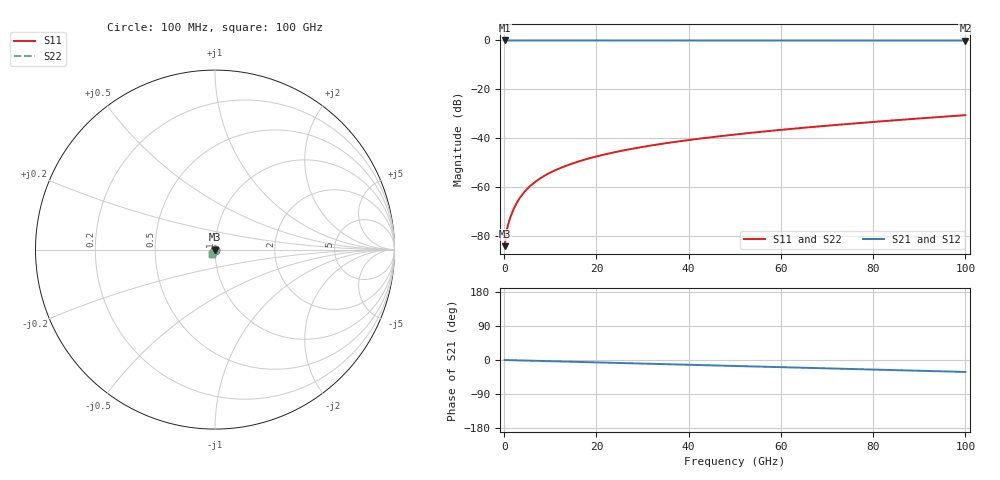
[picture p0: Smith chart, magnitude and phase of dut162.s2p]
! Touchstone file exported from HFSS 2026.1.0
!  File:  C:/ffzhzh/LocalFiles/Ansys_Project_Files/temp_train_TSV_162_1783506824_41296.aedt
!  Generated:  06:34:47 PM Jul  8, 2026
!  Design:  TSV
!  Project:  temp_train_TSV_162_1783506824_41296
! Variables:
!  h_bsmrdl = 2um
!  h_ox = 20um
!  h_rdl = 5um
!  h_sub = 58.27um
!  h_tmrdl = 5um
!  h_tsv = 58.27um
!  h_via = 3um
!  l_bsmrdl = 300um
!  l_sub = 428.98um
!  l_tmrdl = 200um
!  m_sub = 200um
!  pitch = 55.14um
!  r_tsv = 14.49um
!  s_tmrdl = 10um
!  w_bsmrdl = 18um
!  w_sub = 500um
!  w_tmrdl = 12um
!  x_tsv_center1 = 206um
!  x_tsv_center2 = 524um
!  x_tsv_center3 = 736um
!  x_tsv_center4 = 1054um
!  x_tsv_center5 = 1266um
!  x_tsv_center6 = 1584um
# GHz S MA R 50.000000
! Terminal data exported
! Port[1] = TSV1_1_T1
! Port[2] = TSV1_1_T2
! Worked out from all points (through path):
!   1000 points, 100 MHz to 100 GHz, reference 50 ohm
!   highest |S21| = 0.00 dB at 100 MHz (marker M1); lowest = 0.0 dB at 100 GHz (marker M2)
!   group delay of S21, straight-line fit = 874 fs
!   lowest |S11| = -84.3 dB at 100 MHz (marker M3), VSWR 1.00, Z = 50 + j0.000996 ohm
!   |S11| at or under -10 dB: start of sweep to end of sweep
!   |S22| runs from -84.3 to -30.6 dB; largest |S21 - S12| = 2.2e-15
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0.1  6.089e-05 9.4  0.9999 -0.0  0.9999 -0.0  6.089e-05 9.4
! Gamma 0 0 0 0
! Port Impedance 50 0 50 0
0.3  8.769e-05 11.2  0.9999 -0.1  0.9999 -0.1  8.769e-05 11.2
0.6  0.000132 -4.0  0.9999 -0.2  0.9999 -0.2  0.000132 -4.0
1.1  0.0002014 -26.0  0.9998 -0.4  0.9998 -0.4  0.0002014 -26.0
1.5  0.0002602 -37.0  0.9998 -0.5  0.9998 -0.5  0.0002601 -37.0
1.9  0.0003235 -44.4  0.9998 -0.6  0.9998 -0.6  0.0003235 -44.4
2.4  0.0004086 -50.8  0.9997 -0.8  0.9997 -0.8  0.0004085 -50.8
3  0.0005173 -56.3  0.9997 -1.0  0.9997 -1.0  0.0005173 -56.3
3.7  0.0006506 -60.8  0.9997 -1.2  0.9997 -1.2  0.0006506 -60.8
5.3  0.00097 -67.7  0.9996 -1.7  0.9996 -1.7  0.0009699 -67.7
7.3  0.001384 -72.9  0.9995 -2.3  0.9995 -2.3  0.001383 -72.9
9.9  0.001939 -76.9  0.9995 -3.1  0.9995 -3.1  0.001939 -76.9
13.1  0.002631 -80.2  0.9994 -4.1  0.9994 -4.1  0.002631 -80.2
16.8  0.003462 -83.2  0.9993 -5.3  0.9993 -5.3  0.003461 -83.2
20.2  0.004245 -85.6  0.9992 -6.3  0.9992 -6.3  0.004245 -85.6
24.1  0.005161 -88.1  0.9991 -7.6  0.9991 -7.6  0.005161 -88.1
33.4  0.007424 -92.9  0.999 -10.5  0.999 -10.5  0.007423 -92.9
41.1  0.009393 -96.3  0.9988 -12.9  0.9988 -12.9  0.009392 -96.3
50.1  0.01183 -99.9  0.9987 -15.7  0.9987 -15.7  0.01183 -99.9
66.7  0.01682 -105.9  0.9984 -20.9  0.9984 -20.9  0.01682 -106.0
83.4  0.02266 -112.0  0.998 -26.2  0.998 -26.2  0.02266 -112.1
100  0.02948 -118.8  0.9975 -31.5  0.9975 -31.5  0.02948 -118.9
